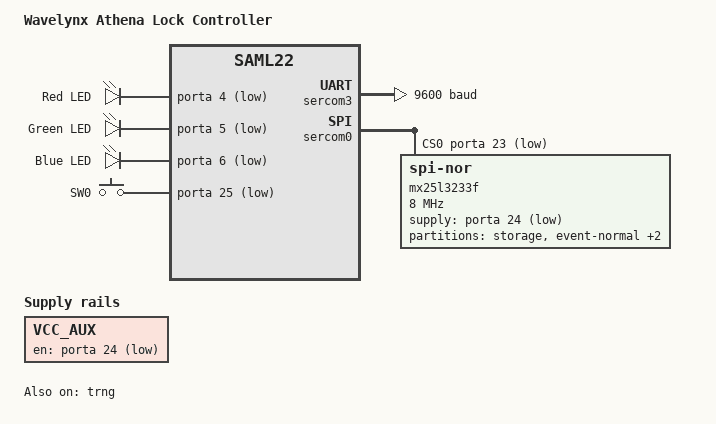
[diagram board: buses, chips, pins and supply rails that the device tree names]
/*
 * Copyright (c) Z9 Security
 */

/dts-v1/;
#include <atmel/saml22.dtsi>
#include "wl_athena-pinctrl.dtsi"
#include <zephyr/dt-bindings/input/input-event-codes.h>
#include <dt-bindings/pinctrl/saml22g-pinctrl.h>

/ {
	model = "Wavelynx Athena Lock Controller";
	//compatible = "atsaml22,xpro", "atmel,saml22g17a", "atmel,saml22";
	compatible = "atmel,saml22g17a", "atmel,saml22";

	chosen {
		zephyr,sram = &sram0;
		zephyr,flash = &flash0;
	};

	/* These aliases are provided for compatibility with samples */
	aliases {
		red = &red;
		green = &green;
		blue = &blue;
		
		sw0 = &user_button;
		z9io-serial = &sercom3;
	};

	leds {
		compatible = "gpio-leds";
		red: red_led0 { 
			gpios = <&porta 4 GPIO_ACTIVE_LOW>;
			label = "Red LED";
		};
		green: green_led0 { 
			gpios = <&porta 5 GPIO_ACTIVE_LOW>;
			label = "Green LED";
		};
		blue: blue_led0 { 
			gpios = <&porta 6 GPIO_ACTIVE_LOW>;
			label = "Blue LED";
		};
	};

	buttons {
		compatible = "gpio-keys";
		user_button: button_0 {
			gpios = <&porta 25 (GPIO_PULL_UP | GPIO_ACTIVE_LOW)>;
			label = "SW0";
			zephyr,code = <INPUT_KEY_0>;
		};
	};

	vcc_aux  {
		compatible = "regulator-fixed";
		regulator-name = "VCC_AUX";
		enable-gpios = <&porta 24 GPIO_ACTIVE_LOW>;
		regulator-boot-on;
	};


};

&sercom3 {
    current-speed = <9600>;
    status = "okay";
};

&cpu0 {
	clock-frequency = <48000000>;
};

&adc {
	status = "disabled";
};

&tcc0 {
	status = "disabled";
	compatible = "atmel,sam0-tcc-pwm";
	/* Gives a maximum period of 1.4s */
	prescaler = <4>;
	#pwm-cells = <2>;

	//pinctrl-0 = <&tcc0_default>;
	//pinctrl-names = "default";
};

&sercom0 {
	status = "okay";
	compatible = "atmel,sam0-spi";
	dipo = <2>;
	dopo = <0>;
	#address-cells = <1>;
	#size-cells = <0>;

	cs-gpios = <&porta 23 GPIO_ACTIVE_LOW>;

	pinctrl-0 = <&sercom0_default>;
	pinctrl-names = "default";
};

/*
&sercom2 {
	status = "okay";
	compatible = "atmel,sam0-spi";
	dipo = <0>;
	dopo = <1>;
	#address-cells = <1>;
	#size-cells = <0>;

	cs-gpios = <&porta 23 GPIO_ACTIVE_LOW>;

	pinctrl-0 = <&sercom2_default>;
	pinctrl-names = "default";
};
*/
&sercom3 {
	status = "okay";
	compatible = "atmel,sam0-uart";
	current-speed = <9600>;
	rxpo = <1>;
	txpo = <0>;

	pinctrl-0 = <&sercom3_default>;
	pinctrl-names = "default";
};

&sercom0 {
	mx25l3233f: mx25l3233f@0 {
			compatible = "jedec,spi-nor";
			reg = <0>;
			spi-max-frequency = <8000000>;
			jedec-id = [c2 20 16];
/* 			sfdp-bfp = [e5 20 f1 ff ff ff ff 03 44 eb 08 6b
						08 3b 04 bb ee ff ff ff ff ff 00 ff
						ff ff 00 ff 0c 20 0f 52 10 d8 00 ff
						23 72 f5 00 82 ed 04 cc 44 83 68 44
						30 b0 30 b0 f7 c4 d5 5c 00 be 29 ff
						f0 d0 ff ff];
*/
			size = <33554432>;
			supply-gpios = <&porta 24 GPIO_ACTIVE_LOW>;
			has-dpd;
			t-enter-dpd = <10000>;
			t-exit-dpd = <100000>;
	};
};

&mx25l3233f {

	partitions {
		compatible = "fixed-partitions";
		#address-cells = <1>;
		#size-cells = <1>;

        storage_partition: partition@20000 {
                label = "storage";
                reg = <0x00020000 0x00008000>;
        };
		event_normal_partition: partition@28000 {
			label = "event-normal";
			reg = <0x00028000 0x0008000>;
		};
		event_priority_partition: partition@30000 {
			label = "event-priority";
			reg = <0x00030000 0x0008000>;
		};
		credentials: partition@38000 {
			label = "credentials";
			reg = <0x00038000 0x0008000>;
		};
    };
};


&trng {
	status = "okay";
};
